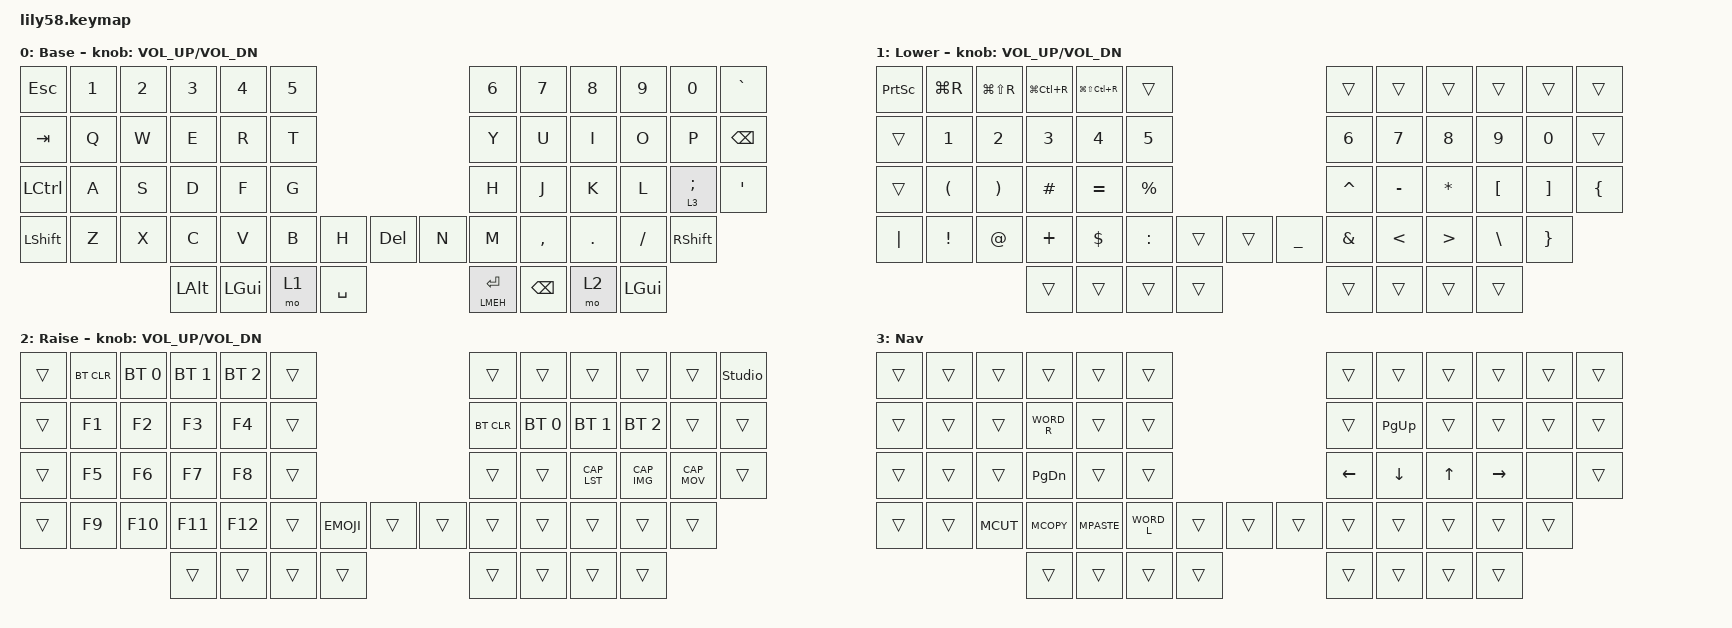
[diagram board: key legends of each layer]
/*
 * Copyright (c) 2020 The ZMK Contributors
 *f
 * SPDX-License-Identifier: MIT
 */

#include <behaviors.dtsi>
#include <dt-bindings/zmk/bt.h>
#include <dt-bindings/zmk/keys.h>
#include "custom_modifiers.h"
#include "shortcuts.h"


&lt {
    quick-tap-ms = <175>;
    require-prior-idle-ms = <150>;
};


/ {
	
 behaviors {
	rpi: require_prior_idle {
    	compatible = "zmk,behavior-hold-tap";
    	#binding-cells = <2>;
   	flavor = "tap-preferred";
   	tapping-term-ms = <280>;
   	quick-tap-ms = <175>;
    	require-prior-idle-ms = <150>;
    	bindings = <&kp>, <&kp>;
	};

	
	};
};

/ {
    keymap {
        compatible = "zmk,keymap";

        default_layer {
            // ------------------------------------------------------------------------------------------------------------
            // |  ESC  |  1  |  2  |  3   |  4   |  5   |                   |  6   |  7    |  8    |  9   |   0   |   `   |
            // |  TAB  |  Q  |  W  |  E   |  R   |  T   |                   |  Y   |  U    |  I    |  O   |   P   |   -   |
            // |  CTRL |  A  |  S  |  D   |  F   |  G   |                   |  H   |  J    |  K    |  L   |   ;   |   '   |
            // | SHIFT |  Z  |  X  |  C   |  V   |  B   |   "["  |  |  "]"  |  N   |  M    |  ,    |  .   |   /   | SHIFT |
            //                     | ALT  | GUI  | LOWER|  SPACE |  | ENTER | RAISE| BSPC  | GUI   |

            display-name = "Base";
            bindings = <
&kp ESC    &kp N1  &kp N2  &kp N3    &kp N4    &kp N5                           	&kp N6         &kp N7  &kp N8     &kp N9   &kp N0      &kp GRAVE
&kp TAB    &kp Q   &kp W   &kp E     &kp R     &kp T                            	&kp Y          &kp U   &kp I      &kp O    &kp P       &kp BACKSPACE
&kp LCTRL  &kp A   &kp S   &kp D     &kp F     &kp G                            	&kp H          &kp J   &kp K      &kp L    &lt 3 SEMI  &kp SQT
&kp LSHFT  &kp Z   &kp X   &kp C     &kp V     &kp B   &kp H   			&kp DELETE     &kp N  &kp M   &kp COMMA  &kp DOT  &kp FSLH    &kp RSHFT
                           &kp LALT  &kp LGUI  &mo 1   &kp SPACE    		     &rpi LMEH ENTER   &kp BACKSPACE  &mo 2   &kp LGUI
            >;

            sensor-bindings = <&inc_dec_kp C_VOL_UP C_VOL_DN>;
         };
      
       

        lower_layer {
            // ------------------------------------------------------------------------------------------------------------
            // | BTCLR | BT1 | BT2 |  BT3 |  BT4 |  BT5 |                   |      |       |       |      |       |       |
            // |  F1   |  F2 |  F3 |  F4  |  F5  |  F6  |                   |  F7  |  F8   |  F9   |  F10 |  F11  |  F12  |
            // |   `   |  !  |  @  |  #   |  $   |  %   |                   |  ^   |  &    |  *    |  (   |   )   |   ~   |
            // |       |     |     |      |      |      |        |  |       |      |  _    |  +    |  {   |   }   |  "|"  |
            //                     |      |      |      |        |  |       |      |       |       |

            display-name = "Lower";
            bindings = <
&kp PRINTSCREEN	&kp LG(R)  	  &kp LG(LS(R))         &kp LG(LC(R)) &kp LG(LS(LC(R)))      &trans                          &trans          &trans         &trans         &trans            &trans             &trans
&trans      &kp N1                &kp N2                 &kp N3         &kp N4        		&kp N5                          &kp N6          &kp N7         &kp N8         &kp N9            &kp N0             &trans
&trans      &kp LEFT_PARENTHESIS  &kp RIGHT_PARENTHESIS  &kp HASH       &kp EQUAL     		&kp PERCENT                     &kp CARET       &kp MINUS      &kp ASTRK      &kp LEFT_BRACKET  &kp RIGHT_BRACKET  &kp LEFT_BRACE
&kp PIPE    &kp EXCLAMATION       &kp AT                 &kp PLUS       &kp DOLLAR    		&kp COLON     &trans    &trans  &kp UNDERSCORE  &kp AMPERSAND  &kp LESS_THAN  &kp GREATER_THAN  &kp BACKSLASH      &kp RIGHT_BRACE
                                                         &trans         &trans       		&trans        &trans    &trans  &trans          &trans         &trans
            >;

            sensor-bindings = <&inc_dec_kp C_VOL_UP C_VOL_DN>;
        };

        raise_layer {
            // ------------------------------------------------------------------------------------------------------------
            // |       |     |     |      |      |      |                   |      |       |       |      |       |       |
            // |   `   |  1  |  2  |  3   |  4   |  5   |                   |  6   |   7   |   8   |  9   |   0   |       |
            // |   F1  |  F2 |  F3 |  F4  |  F5  |  F6  |                   |      |   <-  |   v   |  ^   |  ->   |       |
            // |   F7  |  F8 |  F9 |  F10 |  F11 |  F12 |        |  |       |  +   |   -   |   =   |  [   |   ]   |   \   |
            //                     |      |      |      |        |  |       |      |       |       |

            display-name = "Raise";
            bindings = <
&trans  &bt BT_CLR  &bt BT_SEL 0  &bt BT_SEL 1  &bt BT_SEL 2   &trans                    &trans  &trans  &trans  &trans  &trans  &studio_unlock
&trans  &kp F1  &kp F2   &kp F3   &kp F4   &trans                    &bt BT_CLR  &bt BT_SEL 0  &bt BT_SEL 1  &bt BT_SEL 2 &trans  &trans
&trans  &kp F5  &kp F6   &kp F7   &kp F8   &trans                    &trans  &trans  &kp CAP_LST  &kp CAP_IMG  &kp CAP_MOV  &trans
&trans  &kp F9  &kp F10  &kp F11  &kp F12  &trans  &kp EMOJI    &trans  &trans  &trans  &trans  &trans  &trans  &trans
                         &trans   &trans   &trans  &trans    &trans  &trans  &trans  &trans
            >;

            sensor-bindings = <&inc_dec_kp C_VOL_UP C_VOL_DN>;
        };

        Nav {
            bindings = <
&trans  &trans  &trans     &trans         &trans       &trans                          &trans    &trans       &trans  &trans     &trans  &trans
&trans  &trans  &trans     &kp WORD_R  &trans       &trans                          &trans    &kp PAGE_UP  &trans  &trans     &trans  &trans
&trans  &trans  &trans     &kp PAGE_DOWN  &trans       &trans                          &kp LEFT  &kp DOWN     &kp UP  &kp RIGHT  &none   &trans
&trans  &trans  &kp MCUT  &kp MCOPY     &kp MPASTE  &kp WORD_L  &trans    &trans  &trans    &trans       &trans  &trans     &trans  &trans
                           &trans         &trans       &trans        &trans    &trans  &trans    &trans       &trans
            >;
        };
    };
};
